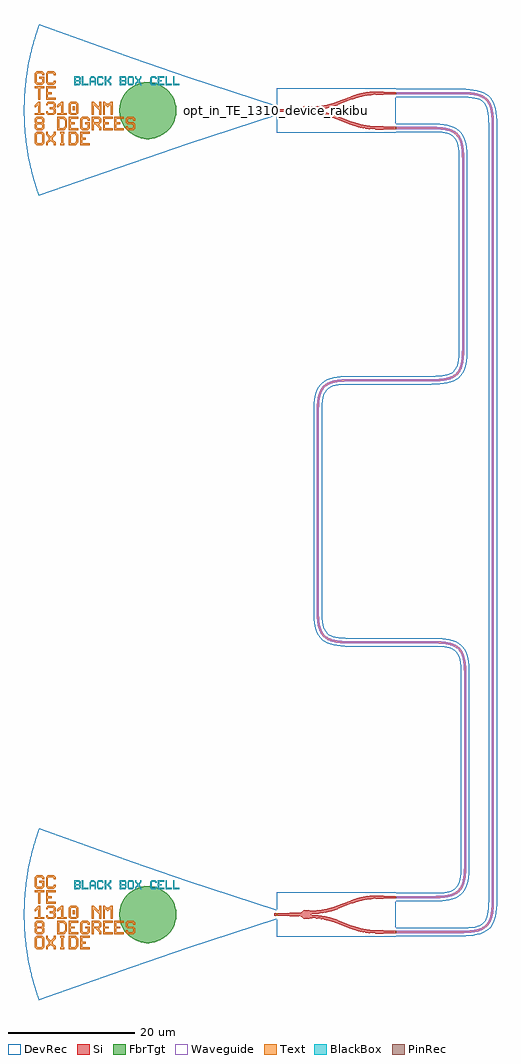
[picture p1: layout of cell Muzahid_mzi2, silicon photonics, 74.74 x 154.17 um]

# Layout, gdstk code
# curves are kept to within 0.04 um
import gdstk
lib = gdstk.Library(unit=1e-6, precision=1e-09)
def R(c, l, rs):  # rectangles x0, y0, x1, y1
    for r in rs: c.add(gdstk.rectangle(r[:2], r[2:], *l))
def P(c, l, *ps):  # polygons
    for p in ps: c.add(gdstk.Polygon(p, *l))
Si = (1, 0)
PinRec = (1, 10)
Waveguide = (1, 99)
Text = (10, 0)
DevRec = (68, 0)
FbrTgt = (81, 0)
BlackBox = (998, 0)

waveguide = lib.new_cell('Waveguide')
P(waveguide, Si, [(58.769,10.575),(58.769,10.925),(69.496,10.93),(70.634,10.997),(71.565,11.157),(72.076,11.32),(72.506,11.534),(72.863,11.799),(73.157,12.123),(73.448,12.626),(73.624,13.117),(73.838,14.358),(73.891,15.75),(73.891,138.25),(73.819,139.818),(73.693,140.608),(73.541,141.14),(73.341,141.59),(73.089,141.965),(72.78,142.274),(72.405,142.526),(71.955,142.726),(71.423,142.878),(70.458,143.022),(69.495,143.071),(58.769,143.075),(58.769,143.425),(69.287,143.424),(70.49,143.37),(71.499,143.22),(72.205,143.005),(72.901,142.623),(73.359,142.187),(73.709,141.64),(73.999,140.835),(74.147,140.032),(74.231,138.896),(74.241,15.75),(74.186,14.326),(74.068,13.473),(73.918,12.88),(73.71,12.361),(73.439,11.915),(73.099,11.539),(72.688,11.234),(72.206,10.996),(71.651,10.817),(70.672,10.649),(69.502,10.58)])
P(waveguide, Waveguide, [(58.769,10.575),(58.769,10.925),(69.496,10.93),(70.634,10.997),(71.565,11.157),(72.076,11.32),(72.506,11.534),(72.863,11.799),(73.157,12.123),(73.448,12.626),(73.624,13.117),(73.838,14.358),(73.891,15.75),(73.891,138.25),(73.819,139.818),(73.693,140.608),(73.541,141.14),(73.341,141.59),(73.089,141.965),(72.78,142.274),(72.405,142.526),(71.955,142.726),(71.423,142.878),(70.458,143.022),(69.495,143.071),(58.769,143.075),(58.769,143.425),(69.287,143.424),(70.49,143.37),(71.499,143.22),(72.205,143.005),(72.901,142.623),(73.359,142.187),(73.709,141.64),(73.999,140.835),(74.147,140.032),(74.231,138.896),(74.241,15.75),(74.186,14.326),(74.068,13.473),(73.918,12.88),(73.71,12.361),(73.439,11.915),(73.099,11.539),(72.688,11.234),(72.206,10.996),(71.651,10.817),(70.672,10.649),(69.502,10.58)])
P(waveguide, DevRec, [(58.769,10.075),(58.769,11.425),(69.718,11.436),(70.822,11.524),(71.665,11.705),(72.264,11.972),(72.491,12.136),(72.845,12.553),(73.112,13.152),(73.214,13.542),(73.349,14.514),(73.391,15.75),(73.391,138.25),(73.292,140.006),(73.111,140.849),(72.988,141.177),(72.68,141.675),(72.49,141.865),(71.992,142.173),(71.274,142.398),(70.302,142.533),(69.065,142.575),(58.769,142.575),(58.769,143.925),(69.067,143.925),(70.41,143.879),(71.56,143.718),(72.544,143.405),(73.366,142.891),(73.706,142.551),(73.99,142.162),(74.399,141.255),(74.63,140.192),(74.73,138.95),(74.741,15.75),(74.695,14.406),(74.534,13.256),(74.4,12.746),(73.991,11.839),(73.367,11.11),(72.978,10.826),(72.071,10.417),(71.008,10.186),(69.766,10.086)])
waveguide.add(gdstk.FlexPath([(58.779,143.25),(58.759,143.25)], 0.35, ends="flush", simple_path=True, layer=1, datatype=10))  # PinRec
waveguide.add(gdstk.FlexPath([(58.779,10.75),(58.759,10.75)], 0.35, ends="flush", simple_path=True, layer=1, datatype=10))  # PinRec
waveguide.add(gdstk.Label('opt1', (58.769,143.25), layer=1, texttype=10))
waveguide.add(gdstk.Label('opt2', (58.769,10.75), layer=1, texttype=10))
waveguide.add(gdstk.Label('Lumerical_INTERCONNECT_library=Design kits/EBeam', (58.769,143.18), layer=68, texttype=0))
waveguide.add(gdstk.Label('Component=ebeam_wg_integral_1310', (58.769,143.32), layer=68, texttype=0))
waveguide.add(gdstk.Label('cellName=Waveguide', (58.769,143.39), layer=68, texttype=0))
waveguide.add(gdstk.Label('Spice_param:wg_length=0.000160001 wg_width=3.5e-07 points="[[58.769,143.25],[74.066,143.25],[74.066,10.75],[58.769,10.75]]" radius=5e-06', (58.769,143.25), layer=68, texttype=0))
waveguide.add(gdstk.Label('Length=160.001 (microns)', (58.769,142.83), layer=68, texttype=0))
waveguide.add(gdstk.Label('waveguide_type=Strip TE 1310 nm, w=350 nm', (58.769,143.11), layer=68, texttype=0))

text = lib.new_cell('TEXT')
P(text, BlackBox, [(0,0),(0,1.4),(0.8,1.4),(1,1.2),(0.2,1.2),(0.2,0.8),(0.7,0.8),(0.8,0.9),(0.8,1.1),(0.7,1.2),(1,1.2),(1,0.8),(0.9,0.7),(1,0.6),(0.2,0.6),(0.2,0.2),(0.7,0.2),(0.8,0.3),(0.8,0.5),(0.7,0.6),(1,0.6),(1,0.2),(0.8,0)],
  [(1.2,0),(1.2,1.4),(1.4,1.4),(1.4,0.2),(2.2,0.2),(2.2,0)],
  [(2.4,0),(2.4,1.1),(2.7,1.4),(3.1,1.4),(3.3,1.2),(2.8,1.2),(2.6,1),(2.6,0.7),(3.2,0.7),(3.2,1),(3,1.2),(3.3,1.2),(3.4,1.1),(3.4,0),(3.2,0),(3.2,0.5),(2.6,0.5),(2.6,0)],
  [(3.8,0),(3.6,0.2),(3.6,1.2),(3.8,1.4),(4.4,1.4),(4.6,1.2),(4.6,1),(4.4,1),(4.4,1.1),(4.3,1.2),(3.9,1.2),(3.8,1.1),(3.8,0.3),(3.9,0.2),(4.3,0.2),(4.4,0.3),(4.4,0.4),(4.6,0.4),(4.6,0.2),(4.4,0)],
  [(4.8,0),(4.8,1.4),(5,1.4),(5,0.8),(5.2,0.8),(5.6,1.2),(5.6,1.4),(5.8,1.4),(5.8,1.1),(5.4,0.7),(5.8,0.3),(5.8,0),(5.6,0),(5.6,0.2),(5.2,0.6),(5,0.6),(5,0)],
  [(7.2,0),(7.2,1.4),(8,1.4),(8.2,1.2),(7.4,1.2),(7.4,0.8),(7.9,0.8),(8,0.9),(8,1.1),(7.9,1.2),(8.2,1.2),(8.2,0.8),(8.1,0.7),(8.2,0.6),(7.4,0.6),(7.4,0.2),(7.9,0.2),(8,0.3),(8,0.5),(7.9,0.6),(8.2,0.6),(8.2,0.2),(8,0)],
  [(8.6,0),(8.4,0.2),(8.4,1.2),(8.6,1.4),(9.2,1.4),(9.4,1.2),(9.4,0.7),(9.2,0.7),(9.2,1.1),(9.1,1.2),(8.7,1.2),(8.6,1.1),(8.6,0.3),(8.7,0.2),(9.1,0.2),(9.2,0.3),(9.2,0.7),(9.4,0.7),(9.4,0.2),(9.2,0)],
  [(9.6,0),(9.6,0.3),(9.9,0.6),(9.9,0.8),(9.6,1.1),(9.6,1.4),(9.8,1.4),(9.8,1.2),(10.1,0.9),(10.4,1.2),(10.4,1.4),(10.6,1.4),(10.6,1.1),(10.3,0.8),(10.3,0.6),(10.6,0.3),(10.6,0),(10.4,0),(10.4,0.2),(10.1,0.5),(9.8,0.2),(9.8,0)],
  [(12.2,0),(12,0.2),(12,1.2),(12.2,1.4),(12.8,1.4),(13,1.2),(13,1),(12.8,1),(12.8,1.1),(12.7,1.2),(12.3,1.2),(12.2,1.1),(12.2,0.3),(12.3,0.2),(12.7,0.2),(12.8,0.3),(12.8,0.4),(13,0.4),(13,0.2),(12.8,0)],
  [(13.2,0),(13.2,1.4),(14.2,1.4),(14.2,1.2),(13.4,1.2),(13.4,0.8),(13.8,0.8),(13.8,0.6),(13.4,0.6),(13.4,0.2),(14.2,0.2),(14.2,0)],
  [(14.4,0),(14.4,1.4),(14.6,1.4),(14.6,0.2),(15.4,0.2),(15.4,0)],
  [(15.6,0),(15.6,1.4),(15.8,1.4),(15.8,0.2),(16.6,0.2),(16.6,0)])

gc_te_1310_8degoxide_bb = lib.new_cell('GC_TE_1310_8degOxide_BB')
R(gc_te_1310_8degoxide_bb, Si, [(-0.4,-0.175,0,0.175)])
R(gc_te_1310_8degoxide_bb, Text, [(-32.27,0.06,-31.97,0.66)])
P(gc_te_1310_8degoxide_bb, Text, [(-37.67,1.71),(-37.67,3.51),(-38.27,3.51),(-38.27,3.81),(-36.77,3.81),(-36.77,3.51),(-37.37,3.51),(-37.37,1.71)],
  [(-37.97,-5.49),(-38.27,-5.19),(-38.27,-3.69),(-37.97,-3.39),(-37.07,-3.39),(-36.77,-3.69),(-36.77,-4.44),(-37.07,-4.44),(-37.07,-3.84),(-37.22,-3.69),(-37.82,-3.69),(-37.97,-3.84),(-37.97,-5.04),(-37.82,-5.19),(-37.22,-5.19),(-37.07,-5.04),(-37.07,-4.44),(-36.77,-4.44),(-36.77,-5.19),(-37.07,-5.49)],
  [(-31.07,-5.49),(-31.07,-3.39),(-29.57,-3.39),(-29.57,-3.69),(-30.77,-3.69),(-30.77,-4.29),(-30.17,-4.29),(-30.17,-4.59),(-30.77,-4.59),(-30.77,-5.19),(-29.57,-5.19),(-29.57,-5.49)],
  [(-32.87,-3.09),(-32.87,-0.99),(-31.37,-0.99),(-31.37,-1.29),(-32.57,-1.29),(-32.57,-1.89),(-31.97,-1.89),(-31.97,-2.19),(-32.57,-2.19),(-32.57,-2.79),(-31.37,-2.79),(-31.37,-3.09)],
  [(-27.47,-3.09),(-27.47,-0.99),(-25.97,-0.99),(-25.97,-1.29),(-27.17,-1.29),(-27.17,-1.89),(-26.57,-1.89),(-26.57,-2.19),(-27.17,-2.19),(-27.17,-2.79),(-25.97,-2.79),(-25.97,-3.09)],
  [(-25.67,-3.09),(-25.67,-0.99),(-24.17,-0.99),(-24.17,-1.29),(-25.37,-1.29),(-25.37,-1.89),(-24.77,-1.89),(-24.77,-2.19),(-25.37,-2.19),(-25.37,-2.79),(-24.17,-2.79),(-24.17,-3.09)],
  [(-36.47,1.71),(-36.47,3.81),(-34.97,3.81),(-34.97,3.51),(-36.17,3.51),(-36.17,2.91),(-35.57,2.91),(-35.57,2.61),(-36.17,2.61),(-36.17,2.01),(-34.97,2.01),(-34.97,1.71)],
  [(-27.47,-0.69),(-27.47,1.41),(-27.17,1.41),(-26.87,1.11),(-26.57,1.11),(-26.27,1.41),(-25.97,1.41),(-25.97,-0.69),(-26.27,-0.69),(-26.27,0.81),(-26.42,0.81),(-26.72,0.51),(-27.02,0.81),(-27.17,0.81),(-27.17,-0.69)],
  [(-29.27,-0.69),(-29.27,1.41),(-28.97,1.41),(-28.22,0.66),(-28.07,0.66),(-28.07,1.41),(-27.77,1.41),(-27.77,-0.69),(-28.07,-0.69),(-28.07,0.06),(-28.82,0.81),(-28.97,0.81),(-28.97,-0.69)],
  [(-34.22,-5.49),(-34.22,-5.19),(-34.07,-5.19),(-34.07,-3.69),(-34.22,-3.69),(-34.22,-3.39),(-33.62,-3.39),(-33.62,-3.69),(-33.77,-3.69),(-33.77,-5.19),(-33.62,-5.19),(-33.62,-5.49)],
  [(-36.17,-0.69),(-36.47,-0.39),(-36.47,-0.09),(-36.17,-0.09),(-36.17,-0.24),(-36.02,-0.39),(-35.42,-0.39),(-35.27,-0.24),(-35.27,0.06),(-35.42,0.21),(-35.87,0.21),(-35.87,0.51),(-35.42,0.51),(-35.27,0.66),(-35.27,0.96),(-35.42,1.11),(-36.02,1.11),(-36.17,0.96),(-36.17,0.81),(-36.47,0.81),(-36.47,1.11),(-36.17,1.41),(-35.27,1.41),(-34.97,1.11),(-34.97,0.51),(-35.12,0.36),(-34.97,0.21),(-34.97,-0.39),(-35.27,-0.69)],
  [(-29.27,-3.09),(-29.27,-0.99),(-28.07,-0.99),(-27.77,-1.29),(-28.97,-1.29),(-28.97,-1.89),(-28.22,-1.89),(-28.07,-1.74),(-28.07,-1.44),(-28.22,-1.29),(-27.77,-1.29),(-27.77,-1.89),(-28.07,-2.19),(-28.07,-2.34),(-27.77,-2.64),(-27.77,-3.09),(-28.07,-3.09),(-28.07,-2.79),(-28.67,-2.19),(-28.97,-2.19),(-28.97,-3.09)],
  [(-30.77,-3.09),(-31.07,-2.79),(-31.07,-1.29),(-30.77,-0.99),(-29.87,-0.99),(-29.57,-1.29),(-29.57,-1.59),(-29.87,-1.59),(-29.87,-1.44),(-30.02,-1.29),(-30.62,-1.29),(-30.77,-1.44),(-30.77,-2.64),(-30.62,-2.79),(-30.02,-2.79),(-29.87,-2.64),(-29.87,-2.19),(-30.32,-2.19),(-30.32,-1.89),(-29.57,-1.89),(-29.57,-2.79),(-29.87,-3.09)],
  [(-37.97,4.11),(-38.27,4.41),(-38.27,5.91),(-37.97,6.21),(-37.07,6.21),(-36.77,5.91),(-36.77,5.61),(-37.07,5.61),(-37.07,5.76),(-37.22,5.91),(-37.82,5.91),(-37.97,5.76),(-37.97,4.56),(-37.82,4.41),(-37.22,4.41),(-37.07,4.56),(-37.07,5.01),(-37.52,5.01),(-37.52,5.31),(-36.77,5.31),(-36.77,4.41),(-37.07,4.11)],
  [(-32.57,-0.69),(-32.87,-0.39),(-32.87,1.11),(-32.57,1.41),(-31.67,1.41),(-31.37,1.11),(-32.42,1.11),(-32.57,0.96),(-32.57,-0.24),(-32.42,-0.39),(-31.82,-0.39),(-31.67,-0.24),(-31.67,0.96),(-31.82,1.11),(-31.37,1.11),(-31.37,-0.39),(-31.67,-0.69)],
  [(-32.87,-5.49),(-32.87,-3.39),(-31.82,-3.39),(-31.52,-3.69),(-32.57,-3.69),(-32.57,-5.19),(-31.97,-5.19),(-31.67,-4.89),(-31.67,-3.99),(-31.97,-3.69),(-31.52,-3.69),(-31.37,-3.84),(-31.37,-5.04),(-31.82,-5.49)],
  [(-34.67,-3.09),(-34.67,-0.99),(-33.62,-0.99),(-33.32,-1.29),(-34.37,-1.29),(-34.37,-2.79),(-33.77,-2.79),(-33.47,-2.49),(-33.47,-1.59),(-33.77,-1.29),(-33.32,-1.29),(-33.17,-1.44),(-33.17,-2.64),(-33.62,-3.09)],
  [(-23.57,-3.09),(-23.87,-2.79),(-23.87,-2.49),(-23.57,-2.49),(-23.57,-2.64),(-23.42,-2.79),(-22.82,-2.79),(-22.67,-2.64),(-22.67,-2.34),(-22.82,-2.19),(-23.57,-2.19),(-23.87,-1.89),(-23.87,-1.29),(-23.57,-0.99),(-22.67,-0.99),(-22.37,-1.29),(-22.37,-1.59),(-22.67,-1.59),(-22.67,-1.44),(-22.82,-1.29),(-23.42,-1.29),(-23.57,-1.44),(-23.57,-1.74),(-23.42,-1.89),(-22.67,-1.89),(-22.37,-2.19),(-22.37,-2.79),(-22.67,-3.09)],
  [(-37.97,-3.09),(-38.27,-2.79),(-38.27,-2.19),(-38.12,-2.04),(-38.27,-1.89),(-38.27,-1.29),(-37.97,-0.99),(-37.07,-0.99),(-36.77,-1.29),(-37.82,-1.29),(-37.97,-1.44),(-37.97,-1.74),(-37.82,-1.89),(-37.22,-1.89),(-37.07,-1.74),(-37.07,-1.44),(-37.22,-1.29),(-36.77,-1.29),(-36.77,-1.89),(-36.92,-2.04),(-36.77,-2.19),(-37.82,-2.19),(-37.97,-2.34),(-37.97,-2.64),(-37.82,-2.79),(-37.22,-2.79),(-37.07,-2.64),(-37.07,-2.34),(-37.22,-2.19),(-36.77,-2.19),(-36.77,-2.79),(-37.07,-3.09)],
  [(-38.27,-0.69),(-38.27,-0.39),(-37.67,-0.39),(-37.67,0.81),(-37.82,0.81),(-38.12,0.51),(-38.27,0.51),(-38.27,0.81),(-37.67,1.41),(-37.37,1.41),(-37.37,-0.39),(-36.77,-0.39),(-36.77,-0.69)],
  [(-34.67,-0.69),(-34.67,-0.39),(-34.07,-0.39),(-34.07,0.81),(-34.22,0.81),(-34.52,0.51),(-34.67,0.51),(-34.67,0.81),(-34.07,1.41),(-33.77,1.41),(-33.77,-0.39),(-33.17,-0.39),(-33.17,-0.69)],
  [(-36.47,-5.49),(-36.47,-5.04),(-36.02,-4.59),(-36.02,-4.29),(-36.47,-3.84),(-36.47,-3.39),(-36.17,-3.39),(-36.17,-3.69),(-35.72,-4.14),(-35.27,-3.69),(-35.27,-3.39),(-34.97,-3.39),(-34.97,-3.84),(-35.42,-4.29),(-35.42,-4.59),(-34.97,-5.04),(-34.97,-5.49),(-35.27,-5.49),(-35.27,-5.19),(-35.72,-4.74),(-36.17,-5.19),(-36.17,-5.49)],
  [(-36.17,4.11),(-36.47,4.41),(-36.47,5.91),(-36.17,6.21),(-35.27,6.21),(-34.97,5.91),(-34.97,5.61),(-35.27,5.61),(-35.27,5.76),(-35.42,5.91),(-36.02,5.91),(-36.17,5.76),(-36.17,4.56),(-36.02,4.41),(-35.42,4.41),(-35.27,4.56),(-35.27,4.71),(-34.97,4.71),(-34.97,4.41),(-35.27,4.11)])
P(gc_te_1310_8degoxide_bb, DevRec, [(-37.607,-13.5),(-38.627,-10.245),(-39.378,-6.832),(-39.647,-5.058),(-39.835,-3.274),(-39.969,0.224),(-39.812,3.541),(-39.331,7.097),(-38.557,10.505),(-37.546,13.669),(-22.8,8.353),(-14.109,5.36),(0,0.75),(0,-0.75),(-14.109,-5.36)])
P(gc_te_1310_8degoxide_bb, FbrTgt, [(-20.621,-4.5),(-21.495,-4.37),(-22.326,-4.073),(-23.084,-3.619),(-23.738,-3.026),(-24.264,-2.316),(-24.642,-1.518),(-24.857,-0.661),(-24.9,0.221),(-24.77,1.095),(-24.473,1.926),(-24.019,2.684),(-23.426,3.338),(-22.716,3.864),(-21.918,4.242),(-21.061,4.457),(-20.179,4.5),(-19.305,4.37),(-18.474,4.073),(-17.716,3.619),(-17.062,3.026),(-16.536,2.316),(-16.158,1.518),(-15.943,0.661),(-15.9,-0.221),(-16.03,-1.095),(-16.327,-1.926),(-16.781,-2.684),(-17.374,-3.338),(-18.084,-3.864),(-18.882,-4.242),(-19.739,-4.457)])
gc_te_1310_8degoxide_bb.add(gdstk.FlexPath([(-0.01,0),(0.01,0)], 0.35, ends="flush", simple_path=True, layer=1, datatype=10))  # PinRec
gc_te_1310_8degoxide_bb.add(gdstk.Reference(text, (-32,4)))
gc_te_1310_8degoxide_bb.add(gdstk.Label('opt1', (0,0), layer=1, texttype=10))
gc_te_1310_8degoxide_bb.add(gdstk.Label('Lumerical_INTERCONNECT_library=Design kits/ebeam', (-29,-7), layer=68, texttype=0))
gc_te_1310_8degoxide_bb.add(gdstk.Label('Component=GC_TE_1310_8degOxide_BB', (-28,-5), layer=68, texttype=0))

ebeam_y_1310 = lib.new_cell('ebeam_y_1310')
R(ebeam_y_1310, Si, [(6.5,-3,7.4,-2.5), (-7.4,-0.25,-6,0.25), (6.5,2.5,7.4,3)])
P(ebeam_y_1310, Si, [(6.458,-3),(6.237,-2.997),(6.237,-2.497),(6.5,-2.5),(6.5,-3)],
  [(5.033,-2.908),(3.59,-2.634),(2.265,-2.21),(2.445,-1.744),(3.731,-2.154),(5.033,-2.404)],
  [(6.233,-2.997),(5.033,-2.908),(5.033,-2.404),(6.237,-2.497)],
  [(2.265,-2.21),(0.055,-1.356),(0.235,-0.89),(2.445,-1.744)],
  [(-0.762,-1.076),(-2.334,-0.724),(-4,-0.6),(-4,-0.1),(-2.381,-0.212),(-0.762,-0.555)],
  [(0.055,-1.356),(-0.762,-1.076),(-0.762,-0.555),(0.235,-0.89)],
  [(6.237,2.497),(6.237,2.997),(6.5,3),(6.5,2.5)],
  [(2.445,1.744),(2.267,2.211),(3.59,2.634),(5.033,2.908),(5.033,2.404),(3.731,2.154)],
  [(5.033,2.404),(5.033,2.908),(6.237,2.997),(6.237,2.497)],
  [(0.235,0.89),(0.055,1.356),(2.265,2.21),(2.445,1.744)],
  [(-4,0.1),(-4,0.6),(-2.334,0.724),(-0.762,1.076),(-0.762,0.555),(-2.381,0.212)],
  [(-0.762,0.555),(-0.762,1.076),(0.055,1.356),(0.235,0.89)],
  [(-5.122,-0.662),(-5.442,-0.374),(-5.808,-0.255),(-6,-0.25),(-6,0.25),(-5.817,0.253),(-5.442,0.374),(-5.122,0.662)],
  [(-4.957,-0.703),(-5.122,-0.662),(-5.122,0.662),(-4.538,0.703),(-4,0.6),(-4,-0.6),(-4.509,-0.701)],
  [(-7.4,-0.25),(-9.4,-0.175),(-9.4,0.175),(-7.4,0.25)],
  [(7.4,2.5),(7.4,3),(9.4,2.925),(9.4,2.575)],
  [(7.4,-3),(7.4,-2.5),(9.4,-2.575),(9.4,-2.925)])
R(ebeam_y_1310, DevRec, [(-9.4,-3.5,9.4,3.5)])
ebeam_y_1310.add(gdstk.FlexPath([(9.35,2.75),(9.45,2.75)], 0.35, ends="flush", simple_path=True, layer=1, datatype=10))  # PinRec
ebeam_y_1310.add(gdstk.FlexPath([(9.35,-2.75),(9.45,-2.75)], 0.35, ends="flush", simple_path=True, layer=1, datatype=10))  # PinRec
ebeam_y_1310.add(gdstk.FlexPath([(-9.35,0),(-9.45,0)], 0.35, ends="flush", simple_path=True, layer=1, datatype=10))  # PinRec
ebeam_y_1310.add(gdstk.Label('Ref: Y Zhang, Opt. Express, 21/1, 2013, for 1550 nm\nWorks reasonably well at 1310 nm', (-9.25,-1), layer=10, texttype=0))
ebeam_y_1310.add(gdstk.Label('opt2', (9.4,2.75), layer=1, texttype=10))
ebeam_y_1310.add(gdstk.Label('opt3', (9.4,-2.75), layer=1, texttype=10))
ebeam_y_1310.add(gdstk.Label('opt1', (-9.4,0), layer=1, texttype=10))
ebeam_y_1310.add(gdstk.Label('Lumerical_INTERCONNECT_library=Design kits/ebeam', (-6.86,-2.19), layer=68, texttype=0))
ebeam_y_1310.add(gdstk.Label('Component=ebeam_y_1310', (-9,1.5), layer=68, texttype=0))

waveguide_5 = lib.new_cell('Waveguide$5')
P(waveguide_5, Si, [(58.769,16.075),(58.769,16.425),(65.333,16.435),(66.437,16.517),(67.198,16.657),(68.039,16.975),(68.575,17.374),(68.975,17.911),(69.257,18.617),(69.471,19.858),(69.524,21.25),(69.524,51.5),(69.484,52.712),(69.385,53.558),(69.08,54.625),(68.855,55.035),(68.575,55.376),(68.233,55.657),(67.823,55.882),(66.91,56.158),(66.091,56.272),(64.916,56.324),(51.419,56.325),(49.994,56.381),(48.834,56.567),(48.029,56.857),(47.386,57.289),(46.902,57.879),(46.613,58.493),(46.449,59.067),(46.317,59.895),(46.248,61.065),(46.272,93.936),(46.338,94.672),(46.486,95.475),(46.718,96.157),(46.973,96.621),(47.295,97.014),(47.689,97.337),(48.153,97.592),(48.835,97.824),(49.814,97.992),(50.984,98.061),(64.378,98.065),(65.771,98.119),(66.877,98.297),(67.718,98.615),(68.33,99.094),(68.76,99.766),(68.936,100.257),(69.09,100.99),(69.202,102.673),(69.203,132.75),(69.149,134.143),(68.971,135.249),(68.653,136.09),(68.254,136.626),(67.611,137.08),(66.735,137.378),(65.945,137.504),(65.011,137.566),(58.769,137.575),(58.769,137.925),(65.423,137.898),(66.33,137.808),(67.248,137.602),(67.885,137.332),(68.41,136.962),(68.824,136.481),(69.132,135.89),(69.347,135.184),(69.497,134.175),(69.553,132.75),(69.552,102.669),(69.436,100.938),(69.312,100.306),(69.08,99.624),(68.895,99.269),(68.59,98.858),(68,98.374),(67.108,97.997),(65.984,97.789),(64.378,97.715),(50.99,97.711),(49.852,97.644),(48.921,97.484),(48.41,97.321),(47.885,97.047),(47.543,96.766),(47.263,96.425),(46.989,95.9),(46.826,95.389),(46.622,93.916),(46.598,61.071),(46.732,59.443),(46.901,58.736),(47.143,58.161),(47.543,57.624),(48.185,57.171),(49.061,56.873),(50.026,56.729),(51.419,56.675),(65.134,56.671),(66.304,56.602),(67.132,56.47),(67.706,56.306),(68.206,56.082),(68.534,55.873),(68.91,55.533),(69.215,55.122),(69.453,54.64),(69.632,54.085),(69.756,53.453),(69.846,52.546),(69.874,51.5),(69.873,21.029),(69.801,19.645),(69.593,18.521),(69.216,17.629),(68.732,17.039),(68.089,16.607),(67.133,16.281),(66.305,16.149),(65.345,16.085)])
P(waveguide_5, Waveguide, [(58.769,16.075),(58.769,16.425),(65.333,16.435),(66.437,16.517),(67.198,16.657),(68.039,16.975),(68.575,17.374),(68.975,17.911),(69.257,18.617),(69.471,19.858),(69.524,21.25),(69.524,51.5),(69.484,52.712),(69.385,53.558),(69.08,54.625),(68.855,55.035),(68.575,55.376),(68.233,55.657),(67.823,55.882),(66.91,56.158),(66.091,56.272),(64.916,56.324),(51.419,56.325),(49.994,56.381),(48.834,56.567),(48.029,56.857),(47.386,57.289),(46.902,57.879),(46.613,58.493),(46.449,59.067),(46.317,59.895),(46.248,61.065),(46.272,93.936),(46.338,94.672),(46.486,95.475),(46.718,96.157),(46.973,96.621),(47.295,97.014),(47.689,97.337),(48.153,97.592),(48.835,97.824),(49.814,97.992),(50.984,98.061),(64.378,98.065),(65.771,98.119),(66.877,98.297),(67.718,98.615),(68.33,99.094),(68.76,99.766),(68.936,100.257),(69.09,100.99),(69.202,102.673),(69.203,132.75),(69.149,134.143),(68.971,135.249),(68.653,136.09),(68.254,136.626),(67.611,137.08),(66.735,137.378),(65.945,137.504),(65.011,137.566),(58.769,137.575),(58.769,137.925),(65.423,137.898),(66.33,137.808),(67.248,137.602),(67.885,137.332),(68.41,136.962),(68.824,136.481),(69.132,135.89),(69.347,135.184),(69.497,134.175),(69.553,132.75),(69.552,102.669),(69.436,100.938),(69.312,100.306),(69.08,99.624),(68.895,99.269),(68.59,98.858),(68,98.374),(67.108,97.997),(65.984,97.789),(64.378,97.715),(50.99,97.711),(49.852,97.644),(48.921,97.484),(48.41,97.321),(47.885,97.047),(47.543,96.766),(47.263,96.425),(46.989,95.9),(46.826,95.389),(46.622,93.916),(46.598,61.071),(46.732,59.443),(46.901,58.736),(47.143,58.161),(47.543,57.624),(48.185,57.171),(49.061,56.873),(50.026,56.729),(51.419,56.675),(65.134,56.671),(66.304,56.602),(67.132,56.47),(67.706,56.306),(68.206,56.082),(68.534,55.873),(68.91,55.533),(69.215,55.122),(69.453,54.64),(69.632,54.085),(69.756,53.453),(69.846,52.546),(69.874,51.5),(69.873,21.029),(69.801,19.645),(69.593,18.521),(69.216,17.629),(68.732,17.039),(68.089,16.607),(67.133,16.281),(66.305,16.149),(65.345,16.085)])
P(waveguide_5, DevRec, [(58.769,15.575),(58.769,16.925),(64.698,16.925),(66.455,17.024),(67.298,17.205),(67.897,17.472),(68.124,17.636),(68.478,18.053),(68.745,18.652),(68.982,20.014),(69.024,21.25),(69.024,51.5),(68.925,53.256),(68.744,54.099),(68.621,54.427),(68.313,54.925),(68.123,55.115),(67.625,55.423),(66.907,55.648),(65.935,55.783),(64.699,55.825),(51.418,55.825),(50.074,55.872),(48.924,56.033),(47.94,56.346),(47.118,56.86),(46.494,57.589),(46.264,58.022),(45.951,59.006),(45.754,60.802),(45.755,93.59),(45.952,95.385),(46.265,96.369),(46.495,96.802),(47.119,97.531),(47.508,97.815),(48.415,98.224),(49.478,98.455),(50.721,98.555),(65.615,98.608),(66.587,98.743),(67.305,98.968),(67.803,99.276),(67.993,99.466),(68.301,99.964),(68.605,101.135),(68.703,102.89),(68.703,132.75),(68.66,133.987),(68.525,134.959),(68.3,135.677),(67.992,136.175),(67.802,136.365),(67.304,136.673),(66.586,136.898),(65.03,137.065),(58.769,137.075),(58.769,138.425),(65.076,138.415),(66.319,138.315),(67.382,138.084),(68.289,137.675),(68.678,137.391),(69.018,137.051),(69.532,136.229),(69.711,135.755),(69.942,134.692),(70.053,132.75),(70.053,102.89),(69.943,100.949),(69.712,99.886),(69.533,99.412),(69.019,98.59),(68.29,97.966),(67.383,97.557),(66.32,97.326),(64.379,97.215),(50.767,97.205),(49.664,97.117),(48.821,96.936),(48.493,96.813),(47.995,96.505),(47.805,96.315),(47.497,95.817),(47.193,94.646),(47.105,93.542),(47.094,61.5),(47.192,59.745),(47.373,58.902),(47.64,58.303),(47.994,57.886),(48.492,57.578),(49.21,57.353),(50.182,57.218),(65.397,57.165),(67.193,56.968),(68.177,56.655),(68.61,56.425),(69.339,55.801),(69.853,54.979),(70.032,54.505),(70.263,53.442),(70.374,51.5),(70.374,21.25),(70.264,19.309),(70.033,18.246),(69.624,17.339),(69,16.61),(68.178,16.096),(67.194,15.783),(65.399,15.586)])
waveguide_5.add(gdstk.FlexPath([(58.779,137.75),(58.759,137.75)], 0.35, ends="flush", simple_path=True, layer=1, datatype=10))  # PinRec
waveguide_5.add(gdstk.FlexPath([(58.779,16.25),(58.759,16.25)], 0.35, ends="flush", simple_path=True, layer=1, datatype=10))  # PinRec
waveguide_5.add(gdstk.Label('opt1', (58.769,137.75), layer=1, texttype=10))
waveguide_5.add(gdstk.Label('opt2', (58.769,16.25), layer=1, texttype=10))
waveguide_5.add(gdstk.Label('Lumerical_INTERCONNECT_library=Design kits/EBeam', (58.769,137.68), layer=68, texttype=0))
waveguide_5.add(gdstk.Label('Component=ebeam_wg_integral_1310', (58.769,137.82), layer=68, texttype=0))
waveguide_5.add(gdstk.Label('cellName=Waveguide', (58.769,137.89), layer=68, texttype=0))
waveguide_5.add(gdstk.Label('Spice_param:wg_length=0.000180000 wg_width=3.5e-07 points="[[58.769,137.75],[69.378,137.75],[69.378,97.89],[46.419,97.89],[46.419,56.5],[69.699,56.5],[69.699,16.25],[58.769,16.25]]" radius=5e-06', (58.769,137.75), layer=68, texttype=0))
waveguide_5.add(gdstk.Label('Length=180.000 (microns)', (58.769,137.33), layer=68, texttype=0))
waveguide_5.add(gdstk.Label('waveguide_type=Strip TE 1310 nm, w=350 nm', (58.769,137.61), layer=68, texttype=0))

muzahid_mzi2 = lib.new_cell('Muzahid_mzi2')
muzahid_mzi2.add(gdstk.Reference(waveguide, (0,0)))
muzahid_mzi2.add(gdstk.Reference(gc_te_1310_8degoxide_bb, (39.969,13.5)))
muzahid_mzi2.add(gdstk.Reference(ebeam_y_1310, (49.369,13.5)))
muzahid_mzi2.add(gdstk.Reference(ebeam_y_1310, (49.369,140.5)))
muzahid_mzi2.add(gdstk.Reference(gc_te_1310_8degoxide_bb, (39.969,140.5)))
muzahid_mzi2.add(gdstk.Reference(waveguide_5, (0,0)))
muzahid_mzi2.add(gdstk.Label('opt_in_TE_1310_device_rakibul_mzi2Muzahid', (39.969,140.5), layer=10, texttype=0))

lib.write_gds('Muzahid_mzi2.gds')
